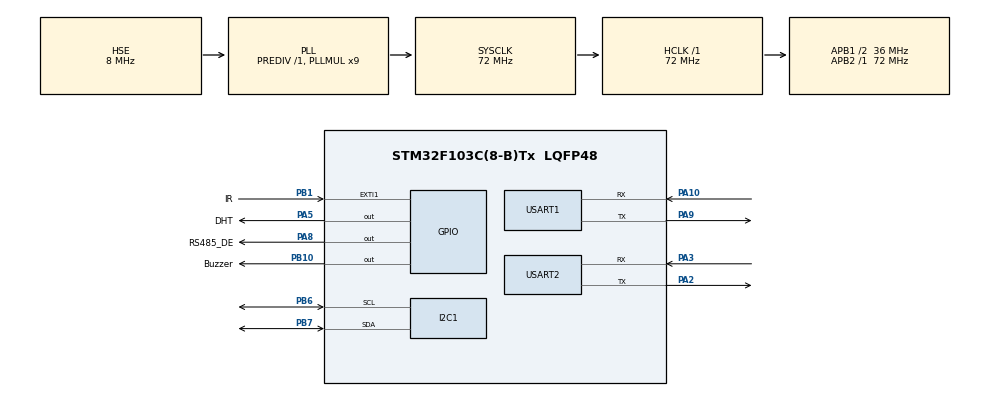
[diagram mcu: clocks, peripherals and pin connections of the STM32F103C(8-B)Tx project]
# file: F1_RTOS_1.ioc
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FREERTOS.Tasks01=defaultTask,24,128,StartDefaultTask,Default,NULL,Dynamic,NULL,NULL
FREERTOS.configUSE_NEWLIB_REENTRANT=1
I2C1.I2C_Mode=I2C_Fast
Mcu.Family=STM32F1
Mcu.Name=STM32F103C(8-B)Tx
Mcu.Package=LQFP48
NVIC.EXTI1_IRQn=true\:5\:0\:false\:false\:true\:true\:true\:true\:true
NVIC.PriorityGroup=NVIC_PRIORITYGROUP_4
NVIC.TIM3_IRQn=true\:15\:0\:false\:false\:true\:false\:false\:true\:true
NVIC.TimeBase=TIM3_IRQn
NVIC.TimeBaseIP=TIM3
PA10.Mode=Asynchronous
PA10.Signal=USART1_RX
PA13.Mode=Serial_Wire
PA13.Signal=SYS_JTMS-SWDIO
PA14.Mode=Serial_Wire
PA14.Signal=SYS_JTCK-SWCLK
PA2.Mode=Asynchronous
PA2.Signal=USART2_TX
PA3.Mode=Asynchronous
PA3.Signal=USART2_RX
PA5.GPIO_Label=DHT
PA5.Signal=GPIO_Output
PA8.GPIO_Label=RS485_DE
PA8.PinState=GPIO_PIN_SET
PA8.Signal=GPIO_Output
PA9.Mode=Asynchronous
PA9.Signal=USART1_TX
PB1.GPIO_Label=IR
PB1.GPIO_ModeDefaultEXTI=GPIO_MODE_IT_FALLING
PB1.Signal=GPXTI1
PB10.GPIO_Label=Buzzer
PB10.Signal=GPIO_Output
PB6.Mode=I2C
PB6.Signal=I2C1_SCL
PB7.Mode=I2C
PB7.Signal=I2C1_SDA
PD0-OSC_IN.Mode=HSE-External-Oscillator
PD0-OSC_IN.Signal=RCC_OSC_IN
PD1-OSC_OUT.Mode=HSE-External-Oscillator
PD1-OSC_OUT.Signal=RCC_OSC_OUT
ProjectManager.HeapSize=0x200
ProjectManager.StackSize=0x400
ProjectManager.TargetToolchain=STM32CubeIDE
RCC.AHBFreq_Value=72000000
RCC.APB1CLKDivider=RCC_HCLK_DIV2
RCC.APB1Freq_Value=36000000
RCC.APB1TimFreq_Value=72000000
RCC.APB2Freq_Value=72000000
RCC.APB2TimFreq_Value=72000000
RCC.HCLKFreq_Value=72000000
RCC.PLLMUL=RCC_PLL_MUL9
RCC.PLLSourceVirtual=RCC_PLLSOURCE_HSE
RCC.SYSCLKFreq_VALUE=72000000
RCC.SYSCLKSource=RCC_SYSCLKSOURCE_PLLCLK
RCC.USBFreq_Value=72000000
TIM1.Prescaler=71
TIM2.Prescaler=71
USART1.VirtualMode=VM_ASYNC
USART2.VirtualMode=VM_ASYNC
VP_FREERTOS_VS_CMSIS_V2.Mode=CMSIS_V2
VP_SYS_VS_tim3.Mode=TIM3
VP_TIM1_VS_ClockSourceINT.Mode=Internal
VP_TIM2_VS_ClockSourceINT.Mode=Internal
board=custom

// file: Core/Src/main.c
/* USER CODE BEGIN Header */
/**
  ******************************************************************************
  * @file           : main.c
  * @brief          : Main program body
  ******************************************************************************
  * @attention
  *
  * Copyright (c) 2024 STMicroelectronics.
  * All rights reserved.
  *
  * This software is licensed under terms that can be found in the LICENSE file
  * in the root directory of this software component.
  * If no LICENSE file comes with this software, it is provided AS-IS.
  *
  ******************************************************************************
  */
/* USER CODE END Header */
#include "main.h"
#include "cmsis_os.h"
#include "task.h"
#include <stdbool.h>
#include <math.h>
/* USER CODE BEGIN Includes */
#include "ssd1306.h"
#include "fonts.h"
#include "dwt_stm32_delay.h"
/* USER CODE END Includes */

I2C_HandleTypeDef hi2c1;

TIM_HandleTypeDef htim1;
TIM_HandleTypeDef htim2;

UART_HandleTypeDef huart1;
UART_HandleTypeDef huart2;

/* Definitions for defaultTask */

/* USER CODE BEGIN PV */
uint32_t tempCode;
uint8_t bitIndex;
uint8_t cmd;
uint8_t cmdli;
uint32_t code;
/* USER CODE END PV */

void SystemClock_Config(void);
static void MX_GPIO_Init(void);
static void MX_I2C1_Init(void);
static void MX_USART1_UART_Init(void);
static void MX_USART2_UART_Init(void);
static void MX_TIM1_Init(void);
static void MX_TIM2_Init(void);

/* USER CODE BEGIN 0 */
#define DHT22_PORT GPIOA
#define DHT22_PIN GPIO_PIN_5
uint8_t RH1, RH2, TC1, TC2, SUM, CHECK;
uint32_t pMillis, cMillis;
float tCelsius = 0;
float tFahrenheit = 0;
float RH = 0;

int a;

void microDelay (uint16_t delay)
{
  __HAL_TIM_SET_COUNTER(&htim2, 0);
  while (__HAL_TIM_GET_COUNTER(&htim2) < delay);
}

uint8_t DHT22_Start (void)
{
  uint8_t Response = 0;
  GPIO_InitTypeDef GPIO_InitStructPrivate = {0};
  GPIO_InitStructPrivate.Pin = DHT22_PIN;
  GPIO_InitStructPrivate.Mode = GPIO_MODE_OUTPUT_PP;
  GPIO_InitStructPrivate.Speed = GPIO_SPEED_FREQ_LOW;
  GPIO_InitStructPrivate.Pull = GPIO_NOPULL;
  HAL_GPIO_Init(DHT22_PORT, &GPIO_InitStructPrivate); // set the pin as output
  HAL_GPIO_WritePin (DHT22_PORT, DHT22_PIN, 0);   // pull the pin low
  microDelay (1300);   // wait for 1300us
  HAL_GPIO_WritePin (DHT22_PORT, DHT22_PIN, 1);   // pull the pin high
  microDelay (30);   // wait for 30us
  GPIO_InitStructPrivate.Mode = GPIO_MODE_INPUT;
  GPIO_InitStructPrivate.Pull = GPIO_PULLUP;
  HAL_GPIO_Init(DHT22_PORT, &GPIO_InitStructPrivate); // set the pin as input
  microDelay (40);
  if (!(HAL_GPIO_ReadPin (DHT22_PORT, DHT22_PIN)))
  {
    microDelay (80);
    if ((HAL_GPIO_ReadPin (DHT22_PORT, DHT22_PIN))) Response = 1;
  }
  pMillis = HAL_GetTick();
  cMillis = HAL_GetTick();
  while ((HAL_GPIO_ReadPin (DHT22_PORT, DHT22_PIN)) && pMillis + 2 > cMillis)
  {
    cMillis = HAL_GetTick();
  }
  return Response;
}

uint8_t DHT22_Read (void)
{
  uint8_t a,b;
  for (a=0;a<8;a++)
  {
    pMillis = HAL_GetTick();
    cMillis = HAL_GetTick();
    while (!(HAL_GPIO_ReadPin (DHT22_PORT, DHT22_PIN)) && pMillis + 2 > cMillis)
    {  // wait for the pin to go high
      cMillis = HAL_GetTick();
    }
    microDelay (40);   // wait for 40 us
    if (!(HAL_GPIO_ReadPin (DHT22_PORT, DHT22_PIN)))   // if the pin is low
      b&= ~(1<<(7-a));
    else
      b|= (1<<(7-a));
    pMillis = HAL_GetTick();
    cMillis = HAL_GetTick();
    while ((HAL_GPIO_ReadPin (DHT22_PORT, DHT22_PIN)) && pMillis + 2 > cMillis)
    {  // wait for the pin to go low
      cMillis = HAL_GetTick();
    }
  }
  return b;
}

uint8_t DHT_Temp(){
	uint8_t temp;

	  if(DHT22_Start())
	  {
		RH1 = DHT22_Read(); // First 8bits of humidity
		RH2 = DHT22_Read(); // Second 8bits of Relative humidity
		TC1 = DHT22_Read(); // First 8bits of Celsius
		TC2 = DHT22_Read(); // Second 8bits of Celsius
		SUM = DHT22_Read(); // Check sum
		CHECK = RH1 + RH2 + TC1 + TC2;
		if (CHECK == SUM)
		{
		  if (TC1>127) // If TC1=10000000, negative temperature
		  {
			tCelsius = (float)TC2/10*(-1);
		  }
		  else
		  {
			tCelsius = (float)((TC1<<8)|TC2)/10;
		  }
		  tFahrenheit = tCelsius * 9/5 + 32;
		  RH = (float) ((RH1<<8)|RH2)/10;
		}
	  }
	 temp = (int)tCelsius;
	 return temp;
}

char temperature[3] = {48,48,'\0'};
void UART_SendTemp(uint8_t a)
{
	temperature[0] = a/10 + '0';
	temperature[1] = a%10 + '0';
	HAL_UART_Transmit(&huart2,(uint8_t*)temperature, 2, 1000);
	HAL_UART_Transmit(&huart2,(uint8_t*)'\n', 1, 1000);
}

typedef uint32_t TaskProfiler;

TaskHandle_t buzzer_handler,uart_handler,dht_handler;

TaskProfiler buzzerTaskProfiler, UARTTaskProfiler;

void vBuzzerTask(void *pvParameters);

void vUARTTask(void *pvParameters);

void vDHTTask(void *pvParametes);

int main(void)
{
  HAL_Init();

  SystemClock_Config();

  MX_GPIO_Init();
  MX_I2C1_Init();
  MX_USART1_UART_Init();
  MX_USART2_UART_Init();
  MX_TIM1_Init();
  MX_TIM2_Init();

  SSD1306_Init();
  SSD1306_GotoXY(10,10);

  HAL_TIM_Base_Start(&htim1);
  __HAL_TIM_SET_COUNTER(&htim1, 0);

  HAL_TIM_Base_Start(&htim2);

  HAL_GPIO_WritePin(Buzzer_GPIO_Port, Buzzer_Pin, 1);
  xTaskCreate(vDHTTask,
   		  	  "DHT Task",
   			  100,
   			  NULL,
   			  2,
			  &dht_handler);

  xTaskCreate(vBuzzerTask,
		  	  "Buzzer Task",
			  100,
			  NULL,
			  1,
			  &buzzer_handler);
  xTaskCreate(vUARTTask,
 		  	  "UART Task",
 			  100,
 			  NULL,
 			  2,
			  &uart_handler);

  vTaskStartScheduler();

  while (1)
  {

  }

}

uint8_t temp;
uint8_t alert = false;
uint8_t threshold = 100;
uint16_t pass;
uint8_t digit;
int biendemso = 0;

uint8_t bienxacthuc = 0;

char password[4]={'1','0','0','\0'};

TickType_t _500ms = pdMS_TO_TICKS(500);

void vBuzzerTask(void *pvParameters)
{
	while(1)
	{
		HAL_GPIO_TogglePin(Buzzer_GPIO_Port, Buzzer_Pin);
		vTaskDelay(pdMS_TO_TICKS(200));
	}
}

void vUARTTask(void *pvParameters)
{
	while(1)
	{

		HAL_UART_Transmit(&huart2, (uint8_t*)"Temperature is ", 15, 1000);
		UART_SendTemp(temp);
		if(alert == true)
		{
			HAL_UART_Transmit(&huart2, (uint8_t*)" SOS\n", 5, 1000);
		}
		else
		{
			HAL_UART_Transmit(&huart2, (uint8_t*)" Normal\n", 8, 1000);
		}
		vTaskDelay(_500ms);
	}
}
void vDHTTask(void *pvParametes)
{
	while(1)
	{

		temp = DHT_Temp();
		HAL_UART_Transmit(&huart2, (uint8_t*)"DHT Task\n", 9, 1000);
		if(temp > threshold)
		{
			alert = true;
			vTaskPrioritySet(buzzer_handler, 3);
			vTaskResume(buzzer_handler);

		}
		else
		{
			alert = false;
			HAL_GPIO_WritePin(Buzzer_GPIO_Port, Buzzer_Pin, 0);
			vTaskSuspend(buzzer_handler);

		}
		vTaskDelay(_500ms);
	}

}

void SystemClock_Config(void)
{
  RCC_OscInitTypeDef RCC_OscInitStruct = {0};
  RCC_ClkInitTypeDef RCC_ClkInitStruct = {0};

  /** Initializes the RCC Oscillators according to the specified parameters
  * in the RCC_OscInitTypeDef structure.
  */
  RCC_OscInitStruct.OscillatorType = RCC_OSCILLATORTYPE_HSE;
  RCC_OscInitStruct.HSEState = RCC_HSE_ON;
  RCC_OscInitStruct.HSEPredivValue = RCC_HSE_PREDIV_DIV1;
  RCC_OscInitStruct.HSIState = RCC_HSI_ON;
  RCC_OscInitStruct.PLL.PLLState = RCC_PLL_ON;
  RCC_OscInitStruct.PLL.PLLSource = RCC_PLLSOURCE_HSE;
  RCC_OscInitStruct.PLL.PLLMUL = RCC_PLL_MUL9;
  if (HAL_RCC_OscConfig(&RCC_OscInitStruct) != HAL_OK)
  {
    Error_Handler();
  }

  /** Initializes the CPU, AHB and APB buses clocks
  */
  RCC_ClkInitStruct.ClockType = RCC_CLOCKTYPE_HCLK|RCC_CLOCKTYPE_SYSCLK
                              |RCC_CLOCKTYPE_PCLK1|RCC_CLOCKTYPE_PCLK2;
  RCC_ClkInitStruct.SYSCLKSource = RCC_SYSCLKSOURCE_PLLCLK;
  RCC_ClkInitStruct.AHBCLKDivider = RCC_SYSCLK_DIV1;
  RCC_ClkInitStruct.APB1CLKDivider = RCC_HCLK_DIV2;
  RCC_ClkInitStruct.APB2CLKDivider = RCC_HCLK_DIV1;

  if (HAL_RCC_ClockConfig(&RCC_ClkInitStruct, FLASH_LATENCY_2) != HAL_OK)
  {
    Error_Handler();
  }
}

static void MX_I2C1_Init(void)
{

  hi2c1.Instance = I2C1;
  hi2c1.Init.ClockSpeed = 400000;
  hi2c1.Init.DutyCycle = I2C_DUTYCYCLE_2;
  hi2c1.Init.OwnAddress1 = 0;
  hi2c1.Init.AddressingMode = I2C_ADDRESSINGMODE_7BIT;
  hi2c1.Init.DualAddressMode = I2C_DUALADDRESS_DISABLE;
  hi2c1.Init.OwnAddress2 = 0;
  hi2c1.Init.GeneralCallMode = I2C_GENERALCALL_DISABLE;
  hi2c1.Init.NoStretchMode = I2C_NOSTRETCH_DISABLE;
  if (HAL_I2C_Init(&hi2c1) != HAL_OK)
  {
    Error_Handler();
  }

}

static void MX_TIM1_Init(void)
{

  TIM_ClockConfigTypeDef sClockSourceConfig = {0};
  TIM_MasterConfigTypeDef sMasterConfig = {0};

  htim1.Instance = TIM1;
  htim1.Init.Prescaler = 71;
  htim1.Init.CounterMode = TIM_COUNTERMODE_UP;
  htim1.Init.Period = 65535;
  htim1.Init.ClockDivision = TIM_CLOCKDIVISION_DIV1;
  htim1.Init.RepetitionCounter = 0;
  htim1.Init.AutoReloadPreload = TIM_AUTORELOAD_PRELOAD_DISABLE;
  if (HAL_TIM_Base_Init(&htim1) != HAL_OK)
  {
    Error_Handler();
  }
  sClockSourceConfig.ClockSource = TIM_CLOCKSOURCE_INTERNAL;
  if (HAL_TIM_ConfigClockSource(&htim1, &sClockSourceConfig) != HAL_OK)
  {
    Error_Handler();
  }
  sMasterConfig.MasterOutputTrigger = TIM_TRGO_RESET;
  sMasterConfig.MasterSlaveMode = TIM_MASTERSLAVEMODE_DISABLE;
  if (HAL_TIMEx_MasterConfigSynchronization(&htim1, &sMasterConfig) != HAL_OK)
  {
    Error_Handler();
  }

}

static void MX_TIM2_Init(void)
{

  TIM_ClockConfigTypeDef sClockSourceConfig = {0};
  TIM_MasterConfigTypeDef sMasterConfig = {0};

  htim2.Instance = TIM2;
  htim2.Init.Prescaler = 71;
  htim2.Init.CounterMode = TIM_COUNTERMODE_UP;
  htim2.Init.Period = 65535;
  htim2.Init.ClockDivision = TIM_CLOCKDIVISION_DIV1;
  htim2.Init.AutoReloadPreload = TIM_AUTORELOAD_PRELOAD_DISABLE;
  if (HAL_TIM_Base_Init(&htim2) != HAL_OK)
  {
    Error_Handler();
  }
  sClockSourceConfig.ClockSource = TIM_CLOCKSOURCE_INTERNAL;
  if (HAL_TIM_ConfigClockSource(&htim2, &sClockSourceConfig) != HAL_OK)
  {
    Error_Handler();
  }
  sMasterConfig.MasterOutputTrigger = TIM_TRGO_RESET;
  sMasterConfig.MasterSlaveMode = TIM_MASTERSLAVEMODE_DISABLE;
  if (HAL_TIMEx_MasterConfigSynchronization(&htim2, &sMasterConfig) != HAL_OK)
  {
    Error_Handler();
  }

}

static void MX_USART1_UART_Init(void)
{

  huart1.Instance = USART1;
  huart1.Init.BaudRate = 115200;
  huart1.Init.WordLength = UART_WORDLENGTH_8B;
  huart1.Init.StopBits = UART_STOPBITS_1;
  huart1.Init.Parity = UART_PARITY_NONE;
  huart1.Init.Mode = UART_MODE_TX_RX;
  huart1.Init.HwFlowCtl = UART_HWCONTROL_NONE;
  huart1.Init.OverSampling = UART_OVERSAMPLING_16;
  if (HAL_UART_Init(&huart1) != HAL_OK)
  {
    Error_Handler();
  }

}
static void MX_USART2_UART_Init(void)
{

  huart2.Instance = USART2;
  huart2.Init.BaudRate = 115200;
  huart2.Init.WordLength = UART_WORDLENGTH_8B;
  huart2.Init.StopBits = UART_STOPBITS_1;
  huart2.Init.Parity = UART_PARITY_NONE;
  huart2.Init.Mode = UART_MODE_TX_RX;
  huart2.Init.HwFlowCtl = UART_HWCONTROL_NONE;
  huart2.Init.OverSampling = UART_OVERSAMPLING_16;
  if (HAL_UART_Init(&huart2) != HAL_OK)
  {
    Error_Handler();
  }

}

static void MX_GPIO_Init(void)
{
  GPIO_InitTypeDef GPIO_InitStruct = {0};

  /* GPIO Ports Clock Enable */
  __HAL_RCC_GPIOD_CLK_ENABLE();
  __HAL_RCC_GPIOA_CLK_ENABLE();
  __HAL_RCC_GPIOB_CLK_ENABLE();

  /*Configure GPIO pin Output Level */
  HAL_GPIO_WritePin(DHT_GPIO_Port, DHT_Pin, GPIO_PIN_RESET);

  /*Configure GPIO pin Output Level */
  HAL_GPIO_WritePin(Buzzer_GPIO_Port, Buzzer_Pin, GPIO_PIN_RESET);

  /*Configure GPIO pin Output Level */
  HAL_GPIO_WritePin(RS485_DE_GPIO_Port, RS485_DE_Pin, GPIO_PIN_SET);

  /*Configure GPIO pins : DHT_Pin RS485_DE_Pin */
  GPIO_InitStruct.Pin = DHT_Pin|RS485_DE_Pin;
  GPIO_InitStruct.Mode = GPIO_MODE_OUTPUT_PP;
  GPIO_InitStruct.Pull = GPIO_NOPULL;
  GPIO_InitStruct.Speed = GPIO_SPEED_FREQ_LOW;
  HAL_GPIO_Init(GPIOA, &GPIO_InitStruct);

  /*Configure GPIO pin : IR_Pin */
  GPIO_InitStruct.Pin = IR_Pin;
  GPIO_InitStruct.Mode = GPIO_MODE_IT_FALLING;
  GPIO_InitStruct.Pull = GPIO_NOPULL;
  HAL_GPIO_Init(IR_GPIO_Port, &GPIO_InitStruct);

  /*Configure GPIO pin : Buzzer_Pin */
  GPIO_InitStruct.Pin = Buzzer_Pin;
  GPIO_InitStruct.Mode = GPIO_MODE_OUTPUT_PP;
  GPIO_InitStruct.Pull = GPIO_NOPULL;
  GPIO_InitStruct.Speed = GPIO_SPEED_FREQ_LOW;
  HAL_GPIO_Init(Buzzer_GPIO_Port, &GPIO_InitStruct);

  /* EXTI interrupt init*/
  HAL_NVIC_SetPriority(EXTI1_IRQn, 5, 0);
  HAL_NVIC_EnableIRQ(EXTI1_IRQn);

}

/* USER CODE BEGIN 4 */

void HAL_GPIO_EXTI_Callback(uint16_t GPIO_Pin)
{
  if(GPIO_Pin == GPIO_PIN_1)
  {
    if (__HAL_TIM_GET_COUNTER(&htim1) > 8000)
    {
      tempCode = 0;
      bitIndex = 0;
    }
    else if (__HAL_TIM_GET_COUNTER(&htim1) > 1700)
    {
      tempCode |= (1UL << (31-bitIndex));   // write 1
      bitIndex++;
    }
    else if (__HAL_TIM_GET_COUNTER(&htim1) > 1000)
    {
      tempCode &= ~(1UL << (31-bitIndex));  // write 0
      bitIndex++;
    }
    if(bitIndex == 32)
    {
      cmdli = ~tempCode; // Logical inverted last 8 bits
      cmd = tempCode >> 8; // Second last 8 bits
      if(cmdli == cmd) // Check for errors
      {
        code = tempCode; // If no bit errors
        // Do your main work HERE

        SSD1306_Clear();
        SSD1306_GotoXY (0,10);
        SSD1306_Puts("Temp : ", &Font_7x10,1);
        SSD1306_GotoXY (42,10);
        SSD1306_Puts((char*)temperature, &Font_7x10,1);
        SSD1306_GotoXY (0,20);
        SSD1306_Puts((char*)"Threshold : ", &Font_7x10,1);

        SSD1306_GotoXY(80, 20);
        SSD1306_Puts((char*)password, &Font_7x10, 1);
        SSD1306_GotoXY (0,50);

        switch (code)
        {
          case (16753245):
//            SSD1306_Puts ("CH-", &Font_7x10, 1);
          break;

          case (16736925):
//            SSD1306_Puts ("CH", &Font_7x10, 1);
		  SSD1306_GotoXY (0,40);
          SSD1306_Puts((char*)"New Threshold", &Font_7x10,1);
//          char password[4] = {'*','*','*','\0'};
          SSD1306_GotoXY (80,20);
          SSD1306_Puts((char*) password, &Font_7x10,1);
          bienxacthuc = 1;

           break;

          case (16769565):
//            SSD1306_Puts ("CH+", &Font_7x10, 1);
            break;

          case (16720605):
//            SSD1306_Puts ("|<<", &Font_7x10, 1);
            break;

          case (16712445):
//            SSD1306_Puts (">>|", &Font_7x10, 1);
            break;

          case (16761405):
//            SSD1306_Puts (">||", &Font_7x10, 1);
          break;

          case (16769055):
 //           SSD1306_Puts ("-", &Font_7x10, 1);
 //          break;

          case (16754775):
  //          SSD1306_Puts ("+", &Font_7x10, 1);
         break;

          case (16748655):
        //    SSD1306_Puts ("EQ", &Font_7x10, 1);
		  SSD1306_GotoXY (0,40);
          SSD1306_Puts((char*)"Threshold Success ", &Font_7x10,1);

          if(bienxacthuc == 1){
        	  int result;
        	  threshold = 0;
//          for (int i = 0; i < 3; i++) {
//
//           // Chuyển đổi ký tự sang số
//            digit = password[i] - '0';
//           // Nhân với hệ số mũ
//           threshold += digit * pow(10,2-i);
//            }
        	  threshold = ( password[0] - '0')*100 + ( password[1] - '0')*10 + ( password[2] - '0');
          result =1;
          }
          bienxacthuc = 0;
          biendemso = 0;

            break;

          case (16738455):
//		  SSD1306_GotoXY (0,40);
            SSD1306_Puts ("0", &Font_7x10, 1);
          if (bienxacthuc == 1 && biendemso <=2)
          {
        	  password[biendemso] = '0';
        	  biendemso++;
        	  SSD1306_GotoXY (80,20);
      	      SSD1306_Puts((char*) password, &Font_7x10,1);
          }
            break;

          case (16750695):
//            SSD1306_Puts ("100+", &Font_7x10, 1);
            break;

          case (16756815):
//            SSD1306_Puts ("200+", &Font_7x10, 1);
            break;

          case (16724175):
//		SSD1306_GotoXY (0,40);
            SSD1306_Puts ("1", &Font_7x10, 1);
          if (bienxacthuc == 1 && biendemso <=2)
          {
        	  password[biendemso] = '1';
        	  biendemso++;
        	  SSD1306_GotoXY (80,20);
      	      SSD1306_Puts((char*) password, &Font_7x10,1);
          }
            break;

          case (16718055):
//		SSD1306_GotoXY (0,40);
            SSD1306_Puts ("2", &Font_7x10, 1);
          if (bienxacthuc == 1 && biendemso <=2)
          {
        	  password[biendemso] = '2';
        	  biendemso++;
        	  SSD1306_GotoXY (80,20);
      	      SSD1306_Puts((char*) password, &Font_7x10,1);
          }
            break;

          case (16743045):
//		SSD1306_GotoXY (0,40);
            SSD1306_Puts ("3", &Font_7x10, 1);
          if (bienxacthuc == 1 && biendemso <=2)
          {
        	  password[biendemso] = '3';
        	  biendemso++;
        	  SSD1306_GotoXY (80,20);
      	      SSD1306_Puts((char*) password, &Font_7x10,1);
          }
            break;

          case (16716015):
//		SSD1306_GotoXY (0,40);
            SSD1306_Puts ("4", &Font_7x10, 1);
          if (bienxacthuc == 1 && biendemso <=2)
          {
        	  password[biendemso] = '4';
        	  biendemso++;
        	  SSD1306_GotoXY (80,20);
      	      SSD1306_Puts((char*) password, &Font_7x10,1);
          }
            break;

          case (16726215):
//		SSD1306_GotoXY (0,40);
            SSD1306_Puts ("5", &Font_7x10, 1);
          if (bienxacthuc == 1 && biendemso <=2)
          {
        	  password[biendemso] = '5';
        	  biendemso++;
        	  SSD1306_GotoXY (80,20);
      	      SSD1306_Puts((char*) password, &Font_7x10,1);
          }
            break;

          case (16734885):
//		SSD1306_GotoXY (0,40);
            SSD1306_Puts ("6", &Font_7x10, 1);
          if (bienxacthuc == 1 && biendemso <=2)
          {
        	  password[biendemso] = '6';
        	  biendemso++;
        	  SSD1306_GotoXY (80,20);
      	      SSD1306_Puts((char*) password, &Font_7x10,1);
          }
            break;

          case (16728765):
//		SSD1306_GotoXY (0,40);
            SSD1306_Puts ("7", &Font_7x10, 1);
          if (bienxacthuc == 1 && biendemso <=2)
          {
        	  password[biendemso] = '7';
        	  biendemso++;
        	  SSD1306_GotoXY (80,20);
      	      SSD1306_Puts((char*) password, &Font_7x10,1);
          }
            break;

          case (16730805):
//		SSD1306_GotoXY (0,40);
            SSD1306_Puts ("8", &Font_7x10, 1);
          if (bienxacthuc == 1 && biendemso <=2)
          {
        	  password[biendemso] = '8';
        	  biendemso++;
        	  SSD1306_GotoXY (80,20);
      	      SSD1306_Puts((char*) password, &Font_7x10,1);
          }
            break;

          case (16732845):
//		SSD1306_GotoXY (0,40);
            SSD1306_Puts ("9", &Font_7x10, 1);
          if (bienxacthuc == 1 && biendemso <=2)
          {
        	  password[biendemso] = '9';
        	  biendemso++;
        	  SSD1306_GotoXY (80,20);
      	      SSD1306_Puts((char*) password, &Font_7x10,1);
          }
            break;

          default :
            break;
        }
      SSD1306_UpdateScreen();
      }
    bitIndex = 0;
    }
  __HAL_TIM_SET_COUNTER(&htim1, 0);
  }
}

/* USER CODE END 4 */

void StartDefaultTask(void *argument)
{
  for(;;)
  {
    osDelay(1);
  }
}

void HAL_TIM_PeriodElapsedCallback(TIM_HandleTypeDef *htim)
{
  if (htim->Instance == TIM3) {
    HAL_IncTick();
  }
}

void Error_Handler(void)
{
  __disable_irq();
  while (1)
  {
  }
}
